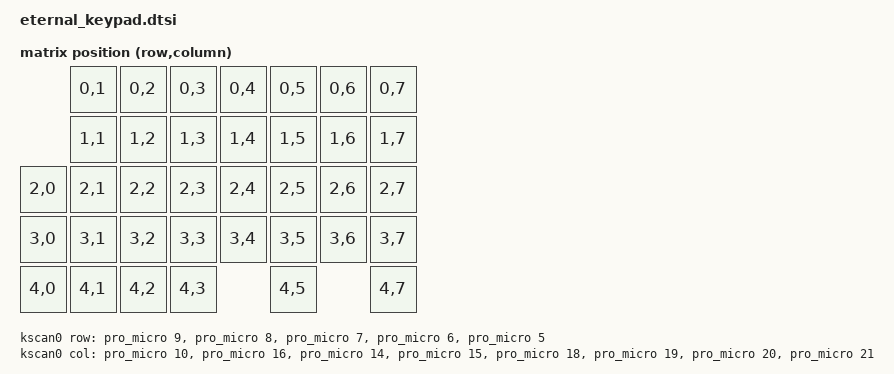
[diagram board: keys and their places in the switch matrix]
/*
 * Copyright (c) 2022 The ZMK Contributors
 *
 * SPDX-License-Identifier: MIT
 */

#include <dt-bindings/zmk/matrix_transform.h>

/ {
  chosen {
    zmk,kscan = &kscan0;
    zmk,matrix_transform = &default_transform;
  };

  kscan0: kscan {
    compatible = "zmk,kscan-gpio-matrix";
    label = "KSCAN";

    diode-direction = "col2row";

    row-gpios
      = <&pro_micro 9 (GPIO_ACTIVE_HIGH | GPIO_PULL_DOWN)>
      , <&pro_micro 8 (GPIO_ACTIVE_HIGH | GPIO_PULL_DOWN)>
      , <&pro_micro 7 (GPIO_ACTIVE_HIGH | GPIO_PULL_DOWN)>
      , <&pro_micro 6 (GPIO_ACTIVE_HIGH | GPIO_PULL_DOWN)>
      , <&pro_micro 5 (GPIO_ACTIVE_HIGH | GPIO_PULL_DOWN)>
      ;

    col-gpios
      = <&pro_micro 10 (GPIO_ACTIVE_HIGH | GPIO_PULL_DOWN)>
      , <&pro_micro 16 (GPIO_ACTIVE_HIGH | GPIO_PULL_DOWN)>
      , <&pro_micro 14 (GPIO_ACTIVE_HIGH | GPIO_PULL_DOWN)>
      , <&pro_micro 15 (GPIO_ACTIVE_HIGH | GPIO_PULL_DOWN)>
      , <&pro_micro 18 (GPIO_ACTIVE_HIGH | GPIO_PULL_DOWN)>
      , <&pro_micro 19 (GPIO_ACTIVE_HIGH | GPIO_PULL_DOWN)>
      , <&pro_micro 20 (GPIO_ACTIVE_HIGH | GPIO_PULL_DOWN)>
      , <&pro_micro 21 (GPIO_ACTIVE_HIGH | GPIO_PULL_DOWN)>
      ;
  };

  default_transform: keymap_transform_0 {
    compatible = "zmk,matrix-transform";
    columns = <8>;
    rows = <5>;
    map = <
                    RC(0,1) RC(0,2) RC(0,3) RC(0,4) RC(0,5) RC(0,6) RC(0,7)
                    RC(1,1) RC(1,2) RC(1,3) RC(1,4) RC(1,5) RC(1,6) RC(1,7)
            RC(2,0) RC(2,1) RC(2,2) RC(2,3) RC(2,4) RC(2,5) RC(2,6) RC(2,7)
            RC(3,0) RC(3,1) RC(3,2) RC(3,3) RC(3,4) RC(3,5) RC(3,6) RC(3,7)
            RC(4,0) RC(4,1) RC(4,2) RC(4,3)         RC(4,5)         RC(4,7)
    >;
  };
};
